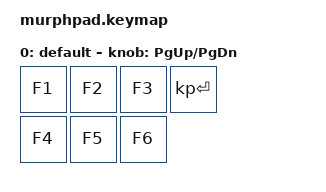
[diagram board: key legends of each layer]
/*
 * Copyright (c) 2021 The ZMK Contributors
 *
 * SPDX-License-Identifier: MIT
 */

#include <behaviors.dtsi>
#include <physical_layouts.dtsi>
#include <dt-bindings/zmk/keys.h>
#include <dt-bindings/zmk/bt.h>
#include <dt-bindings/zmk/outputs.h>
#include <dt-bindings/zmk/rgb.h>
#include <dt-bindings/zmk/matrix_transform.h>

#define TIMEOUT 300

&middle_left_encoder {
    status = "okay";
};

/* Minimal override of all_1u_transform to match latest overlay */
&all_1u_transform {
    columns = <4>;
    rows = <2>;
    map = <
                RC(0,0) RC(0,1) RC(0,2) RC(0,3)
                RC(1,0) RC(1,1) RC(1,2)
    >;
};

/ {
    // combos {
    //     compatible = "zmk,combos";
    //     combo_btclr {
    //         timeout-ms = <TIMEOUT>;
    //         key-positions = <0 4>;
    //         bindings = <&bt BT_CLR>;
    //     };
    //     combo_reset {
    //         timeout-ms = <TIMEOUT>;
    //         key-positions = <0 2>;
    //         bindings = <&sys_reset>;
    //     };
    //     combo_bootloader {
    //         timeout-ms = <TIMEOUT>;
    //         key-positions = <0 1>;
    //         bindings = <&bootloader>;
    //     };
    //     combo_bt_nxt {
    //         timeout-ms = <TIMEOUT>;
    //         key-positions = <0 3>;
    //         bindings = <&bt BT_NXT>;
    //     };
    // };

    keymap: keymap {
        compatible = "zmk,keymap";

        default_layer {
            display-name = "default";
            bindings = <
                            &kp F1       &kp F2          &kp F3            &kp KP_ENTER
                            &kp F4       &kp F5          &kp F6
            >;
            sensor-bindings = <&inc_dec_kp PG_UP PG_DN>;
        };
    };
};
